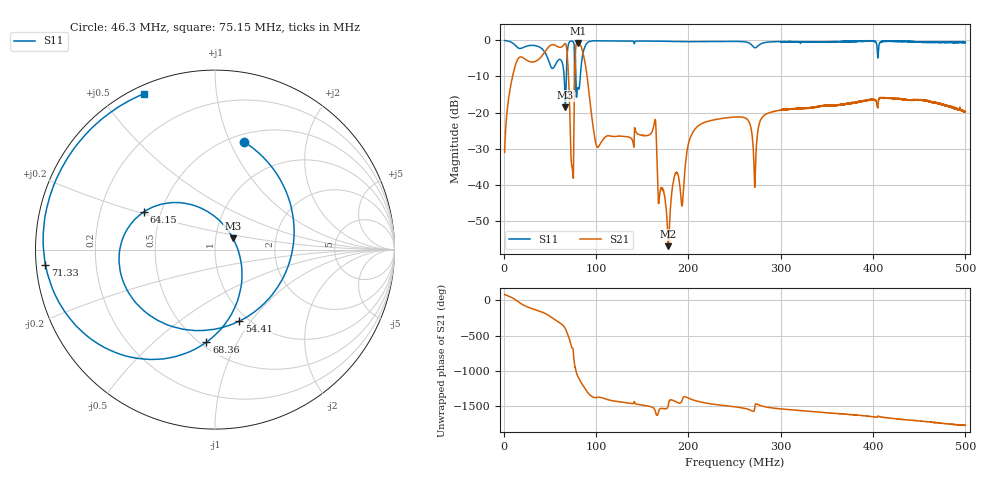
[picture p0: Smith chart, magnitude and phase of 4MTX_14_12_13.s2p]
! NanoVNA-App
! Date: 2026-08-18 21:07:41
! Start: 1MHz Stop: 500MHz Points: 6401
! S-Parameter data: F S11 S21 S12 S22
# Hz S RI R 50
!  Frequency  S11_Real  S11_Imag  S21_Real  S21_Imag  S12_Real  S12_Imag  S22_Real  S22_Imag
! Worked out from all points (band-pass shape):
!   6401 points, 1 MHz to 500 MHz, reference 50 ohm
!   highest |S21| = -0.90 dB at 80.92 MHz (marker M1); lowest = -56.9 dB at 178.2 MHz (marker M2)
!   |S21| within 3 dB of the highest: 42.8 MHz to 68.77 MHz (25.96 MHz wide, 46.5 % of centre); 77.67 MHz to 86.21 MHz (8.542 MHz wide, 10.4 % of centre)
!   lowest |S11| = -18.6 dB at 66.81 MHz (marker M3), VSWR 1.27, Z = 60.5 + j7.79 ohm
!   |S11| at or under -10 dB: 65.47 MHz to 67.74 MHz (2.274 MHz wide, 3.41 % of centre); 76.75086 MHz to 77.00289 MHz (252 kHz wide, 0.328 % of centre); 78.14 MHz to 82.95 MHz (4.812 MHz wide, 5.97 % of centre)
!   S12 and S22 are empty: the file has one direction only
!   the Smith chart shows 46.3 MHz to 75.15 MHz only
!   S11 on the Smith chart (normalised r, x): 46.3 MHz: 0.58, +1.13; 54.41 MHz: 0.91, -0.88; 64.15 MHz: 0.40, +0.21; 68.36 MHz: 0.54, -0.76; 71.33 MHz: 0.03, -0.04; 75.15 MHz: 0.03, +0.64
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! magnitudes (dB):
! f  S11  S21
! 1 MHz  -0.1  -31.0
! 14.49 MHz  -1.9  -5.6
! 46.3 MHz  -4.1  -2.7
! 54.41 MHz  -7.5  -1.3
! 64.15 MHz  -6.9  -1.6
! 66.81 MHz  -18.6  -1.0
! 68.36 MHz  -5.7  -2.8
! 71.33 MHz  -0.5  -17.6
! 75.15 MHz  -0.4  -37.2
! 80.92 MHz  -13.4  -0.9
! 84.19 MHz  -6.4  -2.0
! 101 MHz  -0.2  -29.5
! 162.6 MHz  -0.3  -23.6
! 167.4 MHz  -0.3  -44.4
! 178.2 MHz  -0.3  -56.9
! 205.5 MHz  -0.4  -25.1
! 250.5 MHz  -0.4  -21.2
! 271.9 MHz  -2.1  -40.6
! 281.8 MHz  -0.8  -20.8
! 333.7 MHz  -0.5  -18.6
! 416.9 MHz  -0.3  -16.1
! 500 MHz  -0.6  -19.7
